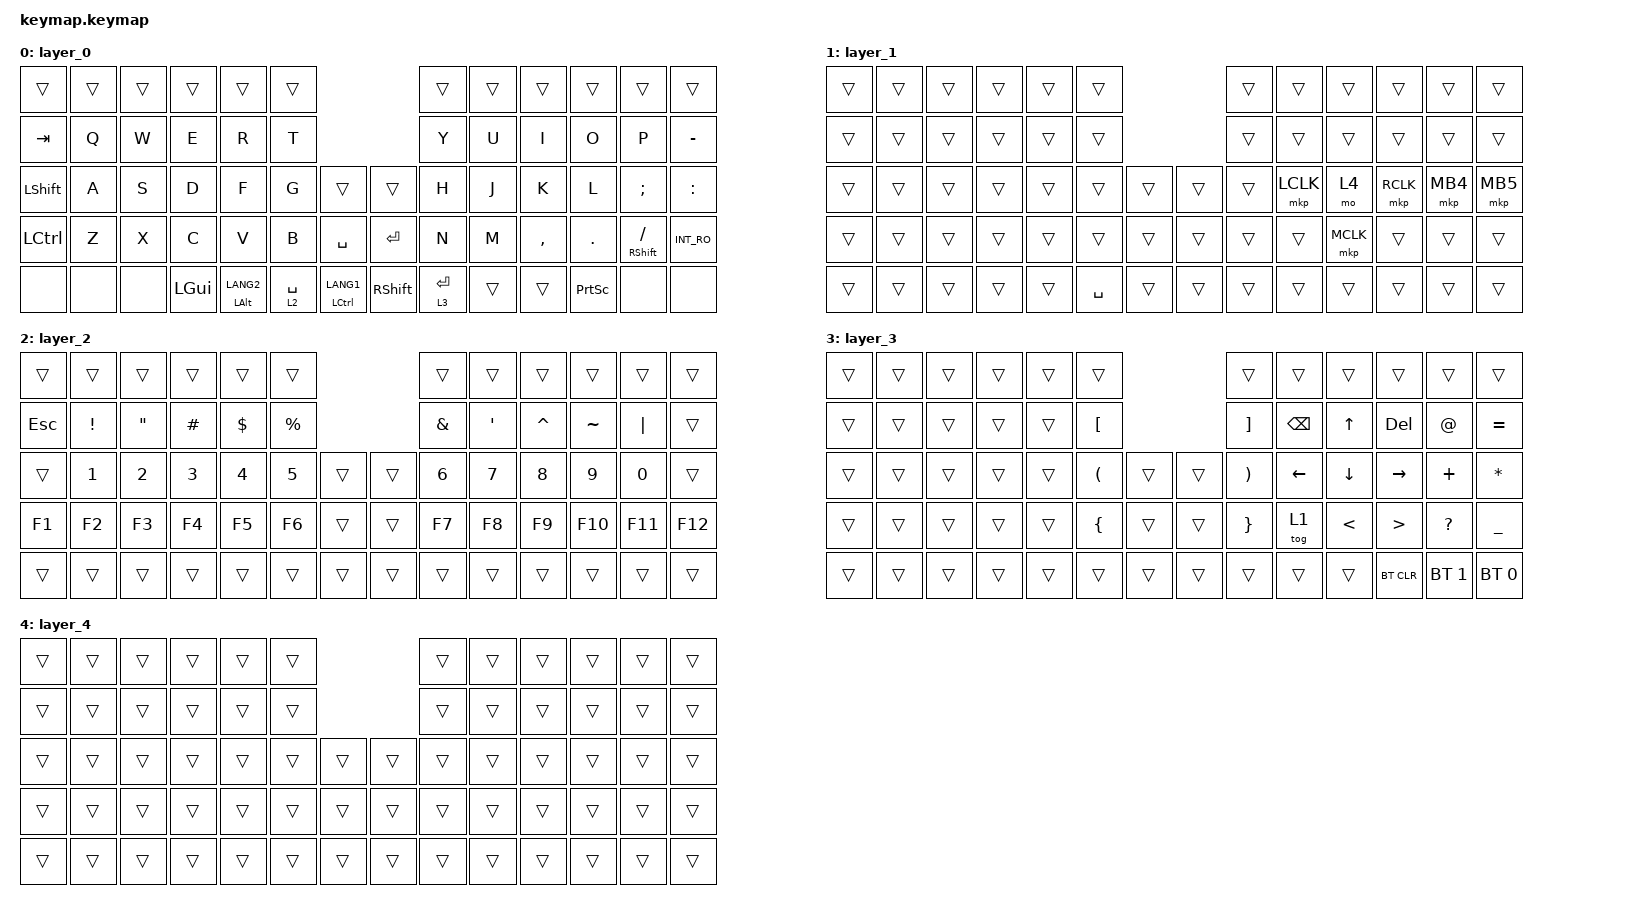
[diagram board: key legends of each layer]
#include <behaviors.dtsi>
#include <dt-bindings/zmk/bt.h>
#include <dt-bindings/zmk/keys.h>
#include <dt-bindings/zmk/pointing.h>
#include "keys_ja.h"

/ {
    combos {
        compatible = "zmk,combos";

        bt_clear {
            bindings = <&bt BT_CLR>;
            key-positions = <28 29>;
            layers = <2>;
        };
    };

    keymap {
        compatible = "zmk,keymap";

        layer_0 {
            bindings = <
&trans      &trans  &trans  &trans        &trans              &trans                                    &trans       &trans  &trans     &trans           &trans                &trans
&kp TAB     &kp Q   &kp W   &kp E         &kp R               &kp T                                     &kp Y        &kp U   &kp I      &kp O            &kp P                 &kp MINUS
&kp LSHIFT  &kp A   &kp S   &kp D         &kp F               &kp G        &trans           &trans      &kp H        &kp J   &kp K      &kp L            &kp SEMI              &kp COLON
&kp LCTRL   &kp Z   &kp X   &kp C         &kp V               &kp B        &kp SPACE        &kp RET     &kp N        &kp M   &kp COMMA  &kp DOT          &mt RIGHT_SHIFT FSLH  &kp INT_RO
&none       &none   &none   &kp LEFT_GUI  &mt LEFT_ALT LANG2  &lt 2 SPACE  &mt LCTRL LANG1  &kp RSHIFT  &lt 3 ENTER  &trans  &trans     &kp PRINTSCREEN  &none                 &none
            >;
        };

        layer_1 {
            bindings = <
&trans  &trans  &trans  &trans  &trans  &trans                     &trans  &trans     &trans     &trans     &trans    &trans
&trans  &trans  &trans  &trans  &trans  &trans                     &trans  &trans     &trans     &trans     &trans    &trans
&trans  &trans  &trans  &trans  &trans  &trans     &trans  &trans  &trans  &mkp LCLK  &mo 4      &mkp RCLK  &mkp MB4  &mkp MB5
&trans  &trans  &trans  &trans  &trans  &trans     &trans  &trans  &trans  &trans     &mkp MCLK  &trans     &trans    &trans
&trans  &trans  &trans  &trans  &trans  &kp SPACE  &trans  &trans  &trans  &trans     &trans     &trans     &trans    &trans
            >;
        };

        layer_2 {
            bindings = <
&trans   &trans    &trans   &trans    &trans    &trans                     &trans    &trans   &trans     &trans     &trans    &trans
&kp ESC  &kp EXCL  &kp DQT  &kp HASH  &kp DLLR  &kp PRCNT                  &kp AMPS  &kp SQT  &kp CARET  &kp TILDE  &kp PIPE  &trans
&trans   &kp N1    &kp N2   &kp N3    &kp N4    &kp N5     &trans  &trans  &kp N6    &kp N7   &kp N8     &kp N9     &kp N0    &trans
&kp F1   &kp F2    &kp F3   &kp F4    &kp F5    &kp F6     &trans  &trans  &kp F7    &kp F8   &kp F9     &kp F10    &kp F11   &kp F12
&trans   &trans    &trans   &trans    &trans    &trans     &trans  &trans  &trans    &trans   &trans     &trans     &trans    &trans
            >;
        };

        layer_3 {
            bindings = <
&trans  &trans  &trans  &trans  &trans  &trans                    &trans    &trans    &trans    &trans      &trans        &trans
&trans  &trans  &trans  &trans  &trans  &kp LBKT                  &kp RBKT  &kp BSPC  &kp UP    &kp DEL     &kp AT        &kp EQUAL
&trans  &trans  &trans  &trans  &trans  &kp LPAR  &trans  &trans  &kp RPAR  &kp LEFT  &kp DOWN  &kp RIGHT   &kp PLUS      &kp STAR
&trans  &trans  &trans  &trans  &trans  &kp LBRC  &trans  &trans  &kp RBRC  &tog 1    &kp LT    &kp GT      &kp QMARK     &kp UNDERSCORE
&trans  &trans  &trans  &trans  &trans  &trans    &trans  &trans  &trans    &trans    &trans    &bt BT_CLR  &bt BT_SEL 1  &bt BT_SEL 0
            >;
        };

        layer_4 {
            bindings = <
&trans  &trans  &trans  &trans  &trans  &trans                  &trans  &trans  &trans  &trans  &trans  &trans
&trans  &trans  &trans  &trans  &trans  &trans                  &trans  &trans  &trans  &trans  &trans  &trans
&trans  &trans  &trans  &trans  &trans  &trans  &trans  &trans  &trans  &trans  &trans  &trans  &trans  &trans
&trans  &trans  &trans  &trans  &trans  &trans  &trans  &trans  &trans  &trans  &trans  &trans  &trans  &trans
&trans  &trans  &trans  &trans  &trans  &trans  &trans  &trans  &trans  &trans  &trans  &trans  &trans  &trans
            >;
        };
    };
};
